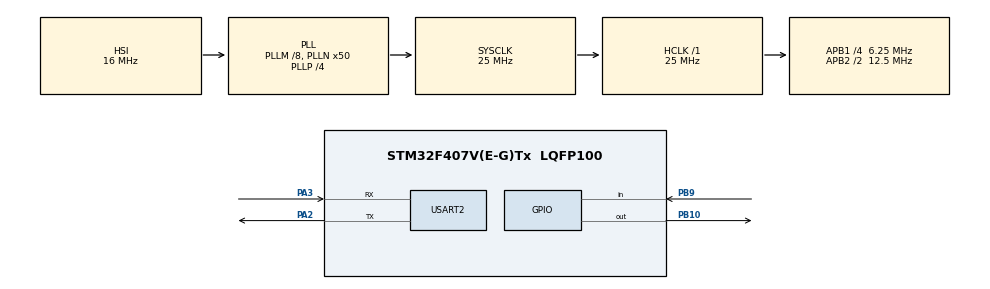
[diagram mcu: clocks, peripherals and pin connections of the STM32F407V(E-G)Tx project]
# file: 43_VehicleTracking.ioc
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Mcu.Family=STM32F4
Mcu.Name=STM32F407V(E-G)Tx
Mcu.Package=LQFP100
NVIC.PriorityGroup=NVIC_PRIORITYGROUP_0
PA2.Mode=Asynchronous
PA2.Signal=USART2_TX
PA3.Mode=Asynchronous
PA3.Signal=USART2_RX
PB10.Signal=GPIO_Output
PB9.Signal=GPIO_Input
PH0-OSC_IN.Mode=HSE-External-Oscillator
PH0-OSC_IN.Signal=RCC_OSC_IN
PH1-OSC_OUT.Mode=HSE-External-Oscillator
PH1-OSC_OUT.Signal=RCC_OSC_OUT
ProjectManager.HeapSize=0x200
ProjectManager.StackSize=0x400
ProjectManager.TargetToolchain=STM32CubeIDE
RCC.48MHZClocksFreq_Value=14285714.285714285
RCC.AHBFreq_Value=25000000
RCC.APB1CLKDivider=RCC_HCLK_DIV4
RCC.APB1Freq_Value=6250000
RCC.APB1TimFreq_Value=12500000
RCC.APB2CLKDivider=RCC_HCLK_DIV2
RCC.APB2Freq_Value=12500000
RCC.APB2TimFreq_Value=25000000
RCC.CortexFreq_Value=25000000
RCC.HCLKFreq_Value=25000000
RCC.HSE_VALUE=8000000
RCC.HSI_VALUE=16000000
RCC.LSE_VALUE=32768
RCC.PLLM=8
RCC.PLLN=50
RCC.PLLP=RCC_PLLP_DIV4
RCC.PLLQ=7
RCC.SYSCLKFreq_VALUE=25000000
RCC.SYSCLKSource=RCC_SYSCLKSOURCE_PLLCLK
RCC.VCOOutputFreq_Value=100000000
TIM3.Prescaler=50-1
USART2.VirtualMode=VM_ASYNC
VP_TIM3_VS_ClockSourceINT.Mode=Internal
board=STM32F407G-DISC1

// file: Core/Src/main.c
/* USER CODE BEGIN Header */

/**

  ******************************************************************************

  * @file           : main.h

  * @brief          : Header for main.c file.

  *                   This file contains the common defines of the application.

  ******************************************************************************

  * @attention

  *

  * Copyright (c) 2026 STMicroelectronics.

  * All rights reserved.

  *

  * This software is licensed under terms that can be found in the LICENSE file

  * in the root directory of this software component.

  * If no LICENSE file comes with this software, it is provided AS-IS.

  *

  ******************************************************************************

  */

/* USER CODE END Header */
#include "main.h"

/* USER CODE BEGIN Includes */
#include <stdio.h>
#include <string.h>
/* USER CODE END Includes */

TIM_HandleTypeDef htim3;

UART_HandleTypeDef huart2;

/* USER CODE BEGIN PV */

uint32_t vehicle_count = 0;

uint8_t vehicle_present = 0;

char msg[100];

/* USER CODE END PV */

void SystemClock_Config(void);
static void MX_GPIO_Init(void);
static void MX_TIM3_Init(void);
static void MX_USART2_UART_Init(void);
/* USER CODE BEGIN PFP */

void delay_us(uint16_t us);

uint32_t get_distance(void);

/* USER CODE END PFP */

/* USER CODE BEGIN 0 */

void delay_us(uint16_t us)

{

    __HAL_TIM_SET_COUNTER(&htim3,0);

    while(__HAL_TIM_GET_COUNTER(&htim3) < us);

}

uint32_t get_distance(void)
{
    uint32_t duration;
    uint32_t timeout;

    // Trigger Pulse on PB10
    HAL_GPIO_WritePin(GPIOB, GPIO_PIN_10, GPIO_PIN_RESET);
    delay_us(2);

    HAL_GPIO_WritePin(GPIOB, GPIO_PIN_10, GPIO_PIN_SET);
    delay_us(10);

    HAL_GPIO_WritePin(GPIOB, GPIO_PIN_10, GPIO_PIN_RESET);

    // Wait for Echo HIGH on PB9
    timeout = 30000;
    while(HAL_GPIO_ReadPin(GPIOB, GPIO_PIN_9) == GPIO_PIN_RESET)
    {
        if(--timeout == 0)
            return 0;
    }

    __HAL_TIM_SET_COUNTER(&htim3, 0);

    // Wait for Echo LOW
    timeout = 30000;
    while(HAL_GPIO_ReadPin(GPIOB, GPIO_PIN_9) == GPIO_PIN_SET)
    {
        if(__HAL_TIM_GET_COUNTER(&htim3) > 30000)
            return 0;
    }

    duration = __HAL_TIM_GET_COUNTER(&htim3);

    return duration / 58;
}
/* USER CODE END 0 */

int main(void)
{

  /* MCU Configuration--------------------------------------------------------*/

  /* Reset of all peripherals, Initializes the Flash interface and the Systick. */
  HAL_Init();

  /* Configure the system clock */
  SystemClock_Config();

  /* Initialize all configured peripherals */
  MX_GPIO_Init();
  MX_TIM3_Init();
  MX_USART2_UART_Init();
  /* USER CODE BEGIN 2 */
  char test[] = "UART Working\r\n";
  HAL_UART_Transmit(&huart2,
                    (uint8_t*)test,
                    strlen(test),
                    HAL_MAX_DELAY);
  HAL_TIM_Base_Start(&htim3);

  /* USER CODE END 2 */

  /* Infinite loop */
  while (1)
  {

    /* USER CODE BEGIN 3 */
//	  sprintf(msg,
//	            "PB9=%d\r\n",
//	            HAL_GPIO_ReadPin(GPIOB, GPIO_PIN_9));
//
//	    HAL_UART_Transmit(&huart2,
//	                      (uint8_t*)msg,
//	                      strlen(msg),
//	                      HAL_MAX_DELAY);
//
//	    HAL_Delay(500);
	  uint32_t distance = get_distance();

	  sprintf(msg,"Distance = %lu cm\r\n",distance);

	  HAL_UART_Transmit(&huart2,(uint8_t*)msg,strlen(msg),HAL_MAX_DELAY);

	  if(distance < 50 && vehicle_present == 0)

	  {

	      vehicle_present = 1;

	  }

	  if(distance > 50 && vehicle_present == 1)

	  {

	      vehicle_count++;

	      vehicle_present = 0;

	      sprintf(msg,"Vehicle Count = %lu\r\n",vehicle_count);

	      HAL_UART_Transmit(&huart2,(uint8_t*)msg,strlen(msg),HAL_MAX_DELAY);

	  }

	  HAL_Delay(200);

  }

  /* USER CODE END 3 */
}

void SystemClock_Config(void)
{
  RCC_OscInitTypeDef RCC_OscInitStruct = {0};
  RCC_ClkInitTypeDef RCC_ClkInitStruct = {0};

  /** Configure the main internal regulator output voltage
  */
  __HAL_RCC_PWR_CLK_ENABLE();
  __HAL_PWR_VOLTAGESCALING_CONFIG(PWR_REGULATOR_VOLTAGE_SCALE1);

  /** Initializes the RCC Oscillators according to the specified parameters
  * in the RCC_OscInitTypeDef structure.
  */
  RCC_OscInitStruct.OscillatorType = RCC_OSCILLATORTYPE_HSI;
  RCC_OscInitStruct.HSIState = RCC_HSI_ON;
  RCC_OscInitStruct.HSICalibrationValue = RCC_HSICALIBRATION_DEFAULT;
  RCC_OscInitStruct.PLL.PLLState = RCC_PLL_ON;
  RCC_OscInitStruct.PLL.PLLSource = RCC_PLLSOURCE_HSI;
  RCC_OscInitStruct.PLL.PLLM = 8;
  RCC_OscInitStruct.PLL.PLLN = 50;
  RCC_OscInitStruct.PLL.PLLP = RCC_PLLP_DIV4;
  RCC_OscInitStruct.PLL.PLLQ = 7;
  if (HAL_RCC_OscConfig(&RCC_OscInitStruct) != HAL_OK)
  {
    Error_Handler();
  }

  /** Initializes the CPU, AHB and APB buses clocks
  */
  RCC_ClkInitStruct.ClockType = RCC_CLOCKTYPE_HCLK|RCC_CLOCKTYPE_SYSCLK
                              |RCC_CLOCKTYPE_PCLK1|RCC_CLOCKTYPE_PCLK2;
  RCC_ClkInitStruct.SYSCLKSource = RCC_SYSCLKSOURCE_PLLCLK;
  RCC_ClkInitStruct.AHBCLKDivider = RCC_SYSCLK_DIV1;
  RCC_ClkInitStruct.APB1CLKDivider = RCC_HCLK_DIV4;
  RCC_ClkInitStruct.APB2CLKDivider = RCC_HCLK_DIV2;

  if (HAL_RCC_ClockConfig(&RCC_ClkInitStruct, FLASH_LATENCY_0) != HAL_OK)
  {
    Error_Handler();
  }
}

static void MX_TIM3_Init(void)
{

  TIM_ClockConfigTypeDef sClockSourceConfig = {0};
  TIM_MasterConfigTypeDef sMasterConfig = {0};

  htim3.Instance = TIM3;
  htim3.Init.Prescaler = 50-1;
  htim3.Init.CounterMode = TIM_COUNTERMODE_UP;
  htim3.Init.Period = 65535;
  htim3.Init.ClockDivision = TIM_CLOCKDIVISION_DIV1;
  htim3.Init.AutoReloadPreload = TIM_AUTORELOAD_PRELOAD_DISABLE;
  if (HAL_TIM_Base_Init(&htim3) != HAL_OK)
  {
    Error_Handler();
  }
  sClockSourceConfig.ClockSource = TIM_CLOCKSOURCE_INTERNAL;
  if (HAL_TIM_ConfigClockSource(&htim3, &sClockSourceConfig) != HAL_OK)
  {
    Error_Handler();
  }
  sMasterConfig.MasterOutputTrigger = TIM_TRGO_RESET;
  sMasterConfig.MasterSlaveMode = TIM_MASTERSLAVEMODE_DISABLE;
  if (HAL_TIMEx_MasterConfigSynchronization(&htim3, &sMasterConfig) != HAL_OK)
  {
    Error_Handler();
  }

}

static void MX_USART2_UART_Init(void)
{

  huart2.Instance = USART2;
  huart2.Init.BaudRate = 115200;
  huart2.Init.WordLength = UART_WORDLENGTH_8B;
  huart2.Init.StopBits = UART_STOPBITS_1;
  huart2.Init.Parity = UART_PARITY_NONE;
  huart2.Init.Mode = UART_MODE_TX_RX;
  huart2.Init.HwFlowCtl = UART_HWCONTROL_NONE;
  huart2.Init.OverSampling = UART_OVERSAMPLING_16;
  if (HAL_UART_Init(&huart2) != HAL_OK)
  {
    Error_Handler();
  }

}

static void MX_GPIO_Init(void)
{
  GPIO_InitTypeDef GPIO_InitStruct = {0};

  /* GPIO Ports Clock Enable */
  __HAL_RCC_GPIOH_CLK_ENABLE();
  __HAL_RCC_GPIOA_CLK_ENABLE();
  __HAL_RCC_GPIOB_CLK_ENABLE();

  /*Configure GPIO pin Output Level */
  HAL_GPIO_WritePin(GPIOB, GPIO_PIN_10, GPIO_PIN_RESET);

  /*Configure GPIO pin : PB10 */
  GPIO_InitStruct.Pin = GPIO_PIN_10;
  GPIO_InitStruct.Mode = GPIO_MODE_OUTPUT_PP;
  GPIO_InitStruct.Pull = GPIO_NOPULL;
  GPIO_InitStruct.Speed = GPIO_SPEED_FREQ_LOW;
  HAL_GPIO_Init(GPIOB, &GPIO_InitStruct);

  /*Configure GPIO pin : PB9 */
  GPIO_InitStruct.Pin = GPIO_PIN_9;
  GPIO_InitStruct.Mode = GPIO_MODE_INPUT;
  GPIO_InitStruct.Pull = GPIO_PULLDOWN;
  HAL_GPIO_Init(GPIOB, &GPIO_InitStruct);

}

void Error_Handler(void)
{
  __disable_irq();
  while (1)
  {
  }
}
